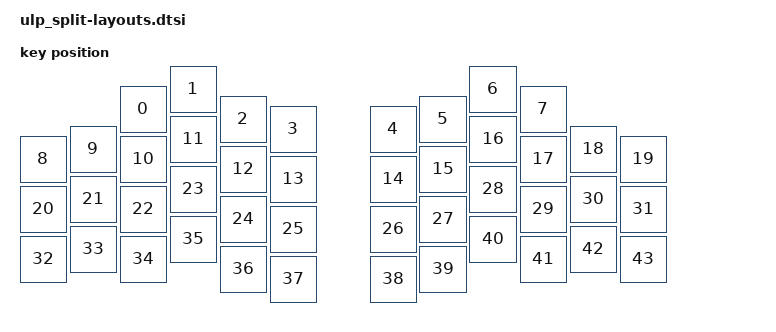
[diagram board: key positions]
// See https://zmk.dev/docs/development/hardware-integration/physical-layouts
// for how to configure this.

#include <physical_layouts.dtsi>

/ {
    default_layout: default_layout {
        compatible = "zmk,physical-layout";
        display-name = "Default Layout";
        transform = <&default_transform>;
        kscan = <&kscan>;

        // Edit this to define the positions and sizes of the keys, or remove it
        // if your keyboard will not support ZMK Studio.
        // https://zmk.dev/docs/development/hardware-integration/physical-layouts#optional-keys-property
        keys  //                     w   h    x    y     rot    rx    ry
            = <&key_physical_attrs 100 100  200    40     0     0     0>
            , <&key_physical_attrs 100 100  300    0      0     0     0>
            , <&key_physical_attrs 100 100  400    60     0     0     0>
            , <&key_physical_attrs 100 100  500    80     0     0     0>
            , <&key_physical_attrs 100 100  700    80     0     0     0>
            , <&key_physical_attrs 100 100  800    60     0     0     0>
            , <&key_physical_attrs 100 100  900    0      0     0     0>
            , <&key_physical_attrs 100 100  1000   40     0     0     0>
            , <&key_physical_attrs 100 100  0      140    0     0     0>
            , <&key_physical_attrs 100 100  100    120    0     0     0>
            , <&key_physical_attrs 100 100  200    140    0     0     0>
            , <&key_physical_attrs 100 100  300    100    0     0     0>
            , <&key_physical_attrs 100 100  400    160    0     0     0>
            , <&key_physical_attrs 100 100  500    180    0     0     0>
            , <&key_physical_attrs 100 100  700    180    0     0     0>
            , <&key_physical_attrs 100 100  800    160    0     0     0>
            , <&key_physical_attrs 100 100  900    100    0     0     0>
            , <&key_physical_attrs 100 100  1000   140    0     0     0>
            , <&key_physical_attrs 100 100  1100   120    0     0     0>
            , <&key_physical_attrs 100 100  1200   140    0     0     0>
            , <&key_physical_attrs 100 100  0      240    0     0     0>
            , <&key_physical_attrs 100 100  100    220    0     0     0>
            , <&key_physical_attrs 100 100  200    240    0     0     0>
            , <&key_physical_attrs 100 100  300    200    0     0     0>
            , <&key_physical_attrs 100 100  400    260    0     0     0>
            , <&key_physical_attrs 100 100  500    280    0     0     0>
            , <&key_physical_attrs 100 100  700    280    0     0     0>
            , <&key_physical_attrs 100 100  800    260    0     0     0>
            , <&key_physical_attrs 100 100  900    200    0     0     0>
            , <&key_physical_attrs 100 100  1000   240    0     0     0>
            , <&key_physical_attrs 100 100  1100   220    0     0     0>
            , <&key_physical_attrs 100 100  1200   240    0     0     0>
            , <&key_physical_attrs 100 100  0      340    0     0     0>
            , <&key_physical_attrs 100 100  100    320    0     0     0>
            , <&key_physical_attrs 100 100  200    340    0     0     0>
            , <&key_physical_attrs 100 100  300    300    0     0     0>
            , <&key_physical_attrs 100 100  400    360    0     0     0>
            , <&key_physical_attrs 100 100  500    380    0     0     0>
            , <&key_physical_attrs 100 100  700    380    0     0     0>
            , <&key_physical_attrs 100 100  800    360    0     0     0>
            , <&key_physical_attrs 100 100  900    300    0     0     0>
            , <&key_physical_attrs 100 100  1000   340    0     0     0>
            , <&key_physical_attrs 100 100  1100   320    0     0     0>
            , <&key_physical_attrs 100 100  1200   340    0     0     0>
            ;
    };
};
